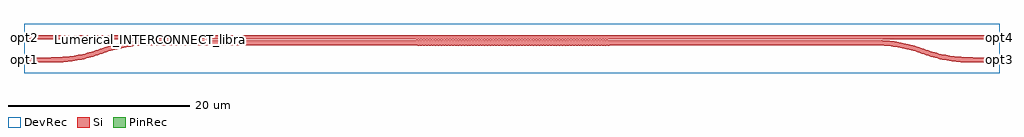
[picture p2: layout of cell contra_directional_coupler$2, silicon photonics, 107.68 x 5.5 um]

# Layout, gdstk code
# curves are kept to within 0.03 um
import gdstk
lib = gdstk.Library(unit=1e-6, precision=1e-09)
def R(c, l, rs):  # rectangles x0, y0, x1, y1
    for r in rs: c.add(gdstk.rectangle(r[:2], r[2:], *l))
def A(c, l, x, y, w, h, nx, ny, dx, dy):  # array of equal rectangles
    R(c, l, [(x+i*dx, y+j*dy, x+i*dx+w, y+j*dy+h) for i in range(nx) for j in range(ny)])
def P(c, l, *ps):  # polygons
    for p in ps: c.add(gdstk.Polygon(p, *l))
Si = (1, 0)
PinRec = (1, 10)
DevRec = (68, 0)

contra_directional_coupl = lib.new_cell('contra_directional_coupler$2')
A(contra_directional_coupl, Si, 33.867, -0.643, 0.159, 0.305, 39, 1, 0.318, 0)
A(contra_directional_coupl, Si, 29.415, -0.642, 0.159, 0.304, 14, 1, 0.318, 0)
A(contra_directional_coupl, Si, 46.269, -0.642, 0.159, 0.304, 14, 1, 0.318, 0)
A(contra_directional_coupl, Si, 25.917, -0.641, 0.159, 0.303, 11, 1, 0.318, 0)
A(contra_directional_coupl, Si, 50.721, -0.641, 0.159, 0.303, 11, 1, 0.318, 0)
A(contra_directional_coupl, Si, 23.373, -0.64, 0.159, 0.302, 8, 1, 0.318, 0)
A(contra_directional_coupl, Si, 54.219, -0.64, 0.159, 0.302, 8, 1, 0.318, 0)
A(contra_directional_coupl, Si, 20.829, -0.639, 0.159, 0.301, 8, 1, 0.318, 0)
A(contra_directional_coupl, Si, 56.763, -0.639, 0.159, 0.301, 8, 1, 0.318, 0)
A(contra_directional_coupl, Si, 18.603, -0.638, 0.159, 0.3, 7, 1, 0.318, 0)
A(contra_directional_coupl, Si, 59.307, -0.638, 0.159, 0.3, 7, 1, 0.318, 0)
A(contra_directional_coupl, Si, 16.377, -0.637, 0.159, 0.299, 7, 1, 0.318, 0)
A(contra_directional_coupl, Si, 61.533, -0.637, 0.159, 0.299, 7, 1, 0.318, 0)
A(contra_directional_coupl, Si, 14.151, -0.636, 0.159, 0.298, 7, 1, 0.318, 0)
A(contra_directional_coupl, Si, 63.759, -0.636, 0.159, 0.298, 7, 1, 0.318, 0)
A(contra_directional_coupl, Si, 12.243, -0.635, 0.159, 0.297, 6, 1, 0.318, 0)
A(contra_directional_coupl, Si, 65.985, -0.635, 0.159, 0.297, 6, 1, 0.318, 0)
A(contra_directional_coupl, Si, 10.017, -0.634, 0.159, 0.296, 7, 1, 0.318, 0)
A(contra_directional_coupl, Si, 67.893, -0.634, 0.159, 0.296, 7, 1, 0.318, 0)
A(contra_directional_coupl, Si, 8.109, -0.633, 0.159, 0.295, 6, 1, 0.318, 0)
A(contra_directional_coupl, Si, 70.119, -0.633, 0.159, 0.295, 6, 1, 0.318, 0)
A(contra_directional_coupl, Si, 6.201, -0.632, 0.159, 0.294, 6, 1, 0.318, 0)
A(contra_directional_coupl, Si, 72.027, -0.632, 0.159, 0.294, 6, 1, 0.318, 0)
A(contra_directional_coupl, Si, 3.975, -0.631, 0.159, 0.293, 7, 1, 0.318, 0)
A(contra_directional_coupl, Si, 73.935, -0.631, 0.159, 0.293, 7, 1, 0.318, 0)
A(contra_directional_coupl, Si, 2.067, -0.63, 0.159, 0.292, 6, 1, 0.318, 0)
A(contra_directional_coupl, Si, 76.161, -0.63, 0.159, 0.292, 6, 1, 0.318, 0)
A(contra_directional_coupl, Si, 0.159, -0.629, 0.159, 0.291, 6, 1, 0.318, 0)
A(contra_directional_coupl, Si, 78.069, -0.629, 0.159, 0.291, 5, 1, 0.318, 0)
A(contra_directional_coupl, Si, 0.318, -0.607, 0.159, 0.269, 6, 1, 0.318, 0)
A(contra_directional_coupl, Si, 78.228, -0.607, 0.159, 0.269, 5, 1, 0.318, 0)
A(contra_directional_coupl, Si, 2.226, -0.606, 0.159, 0.268, 6, 1, 0.318, 0)
A(contra_directional_coupl, Si, 76.32, -0.606, 0.159, 0.268, 6, 1, 0.318, 0)
A(contra_directional_coupl, Si, 4.134, -0.605, 0.159, 0.267, 7, 1, 0.318, 0)
A(contra_directional_coupl, Si, 74.094, -0.605, 0.159, 0.267, 7, 1, 0.318, 0)
A(contra_directional_coupl, Si, 6.36, -0.604, 0.159, 0.266, 6, 1, 0.318, 0)
A(contra_directional_coupl, Si, 72.186, -0.604, 0.159, 0.266, 6, 1, 0.318, 0)
A(contra_directional_coupl, Si, 8.268, -0.603, 0.159, 0.265, 6, 1, 0.318, 0)
A(contra_directional_coupl, Si, 70.278, -0.603, 0.159, 0.265, 6, 1, 0.318, 0)
A(contra_directional_coupl, Si, 10.176, -0.602, 0.159, 0.264, 7, 1, 0.318, 0)
A(contra_directional_coupl, Si, 68.052, -0.602, 0.159, 0.264, 7, 1, 0.318, 0)
A(contra_directional_coupl, Si, 12.402, -0.601, 0.159, 0.263, 6, 1, 0.318, 0)
A(contra_directional_coupl, Si, 66.144, -0.601, 0.159, 0.263, 6, 1, 0.318, 0)
A(contra_directional_coupl, Si, 14.31, -0.6, 0.159, 0.262, 7, 1, 0.318, 0)
A(contra_directional_coupl, Si, 63.918, -0.6, 0.159, 0.262, 7, 1, 0.318, 0)
A(contra_directional_coupl, Si, 16.536, -0.599, 0.159, 0.261, 7, 1, 0.318, 0)
A(contra_directional_coupl, Si, 61.692, -0.599, 0.159, 0.261, 7, 1, 0.318, 0)
A(contra_directional_coupl, Si, 18.762, -0.598, 0.159, 0.26, 7, 1, 0.318, 0)
A(contra_directional_coupl, Si, 59.466, -0.598, 0.159, 0.26, 7, 1, 0.318, 0)
A(contra_directional_coupl, Si, 20.988, -0.597, 0.159, 0.259, 8, 1, 0.318, 0)
A(contra_directional_coupl, Si, 56.922, -0.597, 0.159, 0.259, 8, 1, 0.318, 0)
A(contra_directional_coupl, Si, 23.532, -0.596, 0.159, 0.258, 8, 1, 0.318, 0)
A(contra_directional_coupl, Si, 54.378, -0.596, 0.159, 0.258, 8, 1, 0.318, 0)
A(contra_directional_coupl, Si, 26.076, -0.595, 0.159, 0.257, 11, 1, 0.318, 0)
A(contra_directional_coupl, Si, 50.88, -0.595, 0.159, 0.257, 11, 1, 0.318, 0)
A(contra_directional_coupl, Si, 29.574, -0.594, 0.159, 0.256, 14, 1, 0.318, 0)
A(contra_directional_coupl, Si, 46.428, -0.594, 0.159, 0.256, 14, 1, 0.318, 0)
A(contra_directional_coupl, Si, 34.026, -0.593, 0.159, 0.255, 39, 1, 0.318, 0)
A(contra_directional_coupl, Si, 0, -0.338, 0.159, 0.291, 6, 1, 0.318, 0)
A(contra_directional_coupl, Si, 0.159, -0.338, 0.159, 0.269, 6, 1, 0.318, 0)
A(contra_directional_coupl, Si, 1.908, -0.338, 0.159, 0.292, 6, 1, 0.318, 0)
A(contra_directional_coupl, Si, 2.067, -0.338, 0.159, 0.268, 6, 1, 0.318, 0)
A(contra_directional_coupl, Si, 3.816, -0.338, 0.159, 0.293, 7, 1, 0.318, 0)
A(contra_directional_coupl, Si, 3.975, -0.338, 0.159, 0.267, 7, 1, 0.318, 0)
A(contra_directional_coupl, Si, 6.042, -0.338, 0.159, 0.294, 6, 1, 0.318, 0)
A(contra_directional_coupl, Si, 6.201, -0.338, 0.159, 0.266, 6, 1, 0.318, 0)
A(contra_directional_coupl, Si, 7.95, -0.338, 0.159, 0.295, 6, 1, 0.318, 0)
A(contra_directional_coupl, Si, 8.109, -0.338, 0.159, 0.265, 6, 1, 0.318, 0)
A(contra_directional_coupl, Si, 9.858, -0.338, 0.159, 0.296, 7, 1, 0.318, 0)
A(contra_directional_coupl, Si, 10.017, -0.338, 0.159, 0.264, 7, 1, 0.318, 0)
A(contra_directional_coupl, Si, 12.084, -0.338, 0.159, 0.297, 6, 1, 0.318, 0)
A(contra_directional_coupl, Si, 12.243, -0.338, 0.159, 0.263, 6, 1, 0.318, 0)
A(contra_directional_coupl, Si, 13.992, -0.338, 0.159, 0.298, 7, 1, 0.318, 0)
A(contra_directional_coupl, Si, 14.151, -0.338, 0.159, 0.262, 7, 1, 0.318, 0)
A(contra_directional_coupl, Si, 16.218, -0.338, 0.159, 0.299, 7, 1, 0.318, 0)
A(contra_directional_coupl, Si, 16.377, -0.338, 0.159, 0.261, 7, 1, 0.318, 0)
A(contra_directional_coupl, Si, 18.444, -0.338, 0.159, 0.3, 7, 1, 0.318, 0)
A(contra_directional_coupl, Si, 18.603, -0.338, 0.159, 0.26, 7, 1, 0.318, 0)
A(contra_directional_coupl, Si, 20.67, -0.338, 0.159, 0.301, 8, 1, 0.318, 0)
A(contra_directional_coupl, Si, 20.829, -0.338, 0.159, 0.259, 8, 1, 0.318, 0)
A(contra_directional_coupl, Si, 23.214, -0.338, 0.159, 0.302, 8, 1, 0.318, 0)
A(contra_directional_coupl, Si, 23.373, -0.338, 0.159, 0.258, 8, 1, 0.318, 0)
A(contra_directional_coupl, Si, 25.758, -0.338, 0.159, 0.303, 11, 1, 0.318, 0)
A(contra_directional_coupl, Si, 25.917, -0.338, 0.159, 0.257, 11, 1, 0.318, 0)
A(contra_directional_coupl, Si, 29.256, -0.338, 0.159, 0.304, 14, 1, 0.318, 0)
A(contra_directional_coupl, Si, 29.415, -0.338, 0.159, 0.256, 14, 1, 0.318, 0)
A(contra_directional_coupl, Si, 33.708, -0.338, 0.159, 0.305, 39, 1, 0.318, 0)
A(contra_directional_coupl, Si, 33.867, -0.338, 0.159, 0.255, 39, 1, 0.318, 0)
A(contra_directional_coupl, Si, 46.11, -0.338, 0.159, 0.304, 14, 1, 0.318, 0)
A(contra_directional_coupl, Si, 46.269, -0.338, 0.159, 0.256, 14, 1, 0.318, 0)
A(contra_directional_coupl, Si, 50.562, -0.338, 0.159, 0.303, 11, 1, 0.318, 0)
A(contra_directional_coupl, Si, 50.721, -0.338, 0.159, 0.257, 11, 1, 0.318, 0)
A(contra_directional_coupl, Si, 54.06, -0.338, 0.159, 0.302, 8, 1, 0.318, 0)
A(contra_directional_coupl, Si, 54.219, -0.338, 0.159, 0.258, 8, 1, 0.318, 0)
A(contra_directional_coupl, Si, 56.604, -0.338, 0.159, 0.301, 8, 1, 0.318, 0)
A(contra_directional_coupl, Si, 56.763, -0.338, 0.159, 0.259, 8, 1, 0.318, 0)
A(contra_directional_coupl, Si, 59.148, -0.338, 0.159, 0.3, 7, 1, 0.318, 0)
A(contra_directional_coupl, Si, 59.307, -0.338, 0.159, 0.26, 7, 1, 0.318, 0)
A(contra_directional_coupl, Si, 61.374, -0.338, 0.159, 0.299, 7, 1, 0.318, 0)
A(contra_directional_coupl, Si, 61.533, -0.338, 0.159, 0.261, 7, 1, 0.318, 0)
A(contra_directional_coupl, Si, 63.6, -0.338, 0.159, 0.298, 7, 1, 0.318, 0)
A(contra_directional_coupl, Si, 63.759, -0.338, 0.159, 0.262, 7, 1, 0.318, 0)
A(contra_directional_coupl, Si, 65.826, -0.338, 0.159, 0.297, 6, 1, 0.318, 0)
A(contra_directional_coupl, Si, 65.985, -0.338, 0.159, 0.263, 6, 1, 0.318, 0)
A(contra_directional_coupl, Si, 67.734, -0.338, 0.159, 0.296, 7, 1, 0.318, 0)
A(contra_directional_coupl, Si, 67.893, -0.338, 0.159, 0.264, 7, 1, 0.318, 0)
A(contra_directional_coupl, Si, 69.96, -0.338, 0.159, 0.295, 6, 1, 0.318, 0)
A(contra_directional_coupl, Si, 70.119, -0.338, 0.159, 0.265, 6, 1, 0.318, 0)
A(contra_directional_coupl, Si, 71.868, -0.338, 0.159, 0.294, 6, 1, 0.318, 0)
A(contra_directional_coupl, Si, 72.027, -0.338, 0.159, 0.266, 6, 1, 0.318, 0)
A(contra_directional_coupl, Si, 73.776, -0.338, 0.159, 0.293, 7, 1, 0.318, 0)
A(contra_directional_coupl, Si, 73.935, -0.338, 0.159, 0.267, 7, 1, 0.318, 0)
A(contra_directional_coupl, Si, 76.002, -0.338, 0.159, 0.292, 6, 1, 0.318, 0)
A(contra_directional_coupl, Si, 76.161, -0.338, 0.159, 0.268, 6, 1, 0.318, 0)
A(contra_directional_coupl, Si, 77.91, -0.338, 0.159, 0.291, 5, 1, 0.318, 0)
A(contra_directional_coupl, Si, 78.069, -0.338, 0.159, 0.269, 5, 1, 0.318, 0)
A(contra_directional_coupl, Si, 27.03, 0.047, 0.159, 0.231, 40, 1, 0.318, 0)
A(contra_directional_coupl, Si, 40.068, 0.047, 0.159, 0.231, 40, 1, 0.318, 0)
A(contra_directional_coupl, Si, 21.306, 0.048, 0.159, 0.23, 18, 1, 0.318, 0)
A(contra_directional_coupl, Si, 52.788, 0.048, 0.159, 0.23, 18, 1, 0.318, 0)
A(contra_directional_coupl, Si, 16.854, 0.049, 0.159, 0.229, 14, 1, 0.318, 0)
A(contra_directional_coupl, Si, 58.512, 0.049, 0.159, 0.229, 14, 1, 0.318, 0)
A(contra_directional_coupl, Si, 12.402, 0.05, 0.159, 0.228, 14, 1, 0.318, 0)
A(contra_directional_coupl, Si, 62.964, 0.05, 0.159, 0.228, 14, 1, 0.318, 0)
A(contra_directional_coupl, Si, 8.268, 0.051, 0.159, 0.227, 13, 1, 0.318, 0)
A(contra_directional_coupl, Si, 67.416, 0.051, 0.159, 0.227, 13, 1, 0.318, 0)
A(contra_directional_coupl, Si, 3.816, 0.052, 0.159, 0.226, 14, 1, 0.318, 0)
A(contra_directional_coupl, Si, 71.55, 0.052, 0.159, 0.226, 14, 1, 0.318, 0)
A(contra_directional_coupl, Si, 0, 0.053, 0.159, 0.225, 12, 1, 0.318, 0)
A(contra_directional_coupl, Si, 76.002, 0.053, 0.159, 0.225, 11, 1, 0.318, 0)
A(contra_directional_coupl, Si, 0.159, 0.064, 0.159, 0.214, 12, 1, 0.318, 0)
A(contra_directional_coupl, Si, 76.161, 0.064, 0.159, 0.214, 11, 1, 0.318, 0)
A(contra_directional_coupl, Si, 3.975, 0.065, 0.159, 0.213, 14, 1, 0.318, 0)
A(contra_directional_coupl, Si, 71.709, 0.065, 0.159, 0.213, 14, 1, 0.318, 0)
A(contra_directional_coupl, Si, 8.427, 0.066, 0.159, 0.212, 13, 1, 0.318, 0)
A(contra_directional_coupl, Si, 67.575, 0.066, 0.159, 0.212, 13, 1, 0.318, 0)
A(contra_directional_coupl, Si, 12.561, 0.067, 0.159, 0.211, 14, 1, 0.318, 0)
A(contra_directional_coupl, Si, 63.123, 0.067, 0.159, 0.211, 14, 1, 0.318, 0)
A(contra_directional_coupl, Si, 17.013, 0.068, 0.159, 0.21, 14, 1, 0.318, 0)
A(contra_directional_coupl, Si, 58.671, 0.068, 0.159, 0.21, 14, 1, 0.318, 0)
A(contra_directional_coupl, Si, 21.465, 0.069, 0.159, 0.209, 18, 1, 0.318, 0)
A(contra_directional_coupl, Si, 52.947, 0.069, 0.159, 0.209, 18, 1, 0.318, 0)
A(contra_directional_coupl, Si, 27.189, 0.07, 0.159, 0.208, 81, 1, 0.318, 0)
A(contra_directional_coupl, Si, 0.159, 0.278, 0.159, 0.225, 12, 1, 0.318, 0)
A(contra_directional_coupl, Si, 0.318, 0.278, 0.159, 0.214, 12, 1, 0.318, 0)
A(contra_directional_coupl, Si, 3.975, 0.278, 0.159, 0.226, 14, 1, 0.318, 0)
A(contra_directional_coupl, Si, 4.134, 0.278, 0.159, 0.213, 14, 1, 0.318, 0)
A(contra_directional_coupl, Si, 8.427, 0.278, 0.159, 0.227, 13, 1, 0.318, 0)
A(contra_directional_coupl, Si, 8.586, 0.278, 0.159, 0.212, 13, 1, 0.318, 0)
A(contra_directional_coupl, Si, 12.561, 0.278, 0.159, 0.228, 14, 1, 0.318, 0)
A(contra_directional_coupl, Si, 12.72, 0.278, 0.159, 0.211, 14, 1, 0.318, 0)
A(contra_directional_coupl, Si, 17.013, 0.278, 0.159, 0.229, 14, 1, 0.318, 0)
A(contra_directional_coupl, Si, 17.172, 0.278, 0.159, 0.21, 14, 1, 0.318, 0)
A(contra_directional_coupl, Si, 21.465, 0.278, 0.159, 0.23, 18, 1, 0.318, 0)
A(contra_directional_coupl, Si, 21.624, 0.278, 0.159, 0.209, 18, 1, 0.318, 0)
A(contra_directional_coupl, Si, 27.189, 0.278, 0.159, 0.231, 40, 1, 0.318, 0)
A(contra_directional_coupl, Si, 27.348, 0.278, 0.159, 0.208, 81, 1, 0.318, 0)
A(contra_directional_coupl, Si, 40.227, 0.278, 0.159, 0.231, 40, 1, 0.318, 0)
A(contra_directional_coupl, Si, 52.947, 0.278, 0.159, 0.23, 18, 1, 0.318, 0)
A(contra_directional_coupl, Si, 53.106, 0.278, 0.159, 0.209, 18, 1, 0.318, 0)
A(contra_directional_coupl, Si, 58.671, 0.278, 0.159, 0.229, 14, 1, 0.318, 0)
A(contra_directional_coupl, Si, 58.83, 0.278, 0.159, 0.21, 14, 1, 0.318, 0)
A(contra_directional_coupl, Si, 63.123, 0.278, 0.159, 0.228, 14, 1, 0.318, 0)
A(contra_directional_coupl, Si, 63.282, 0.278, 0.159, 0.211, 14, 1, 0.318, 0)
A(contra_directional_coupl, Si, 67.575, 0.278, 0.159, 0.227, 13, 1, 0.318, 0)
A(contra_directional_coupl, Si, 67.734, 0.278, 0.159, 0.212, 13, 1, 0.318, 0)
A(contra_directional_coupl, Si, 71.709, 0.278, 0.159, 0.226, 14, 1, 0.318, 0)
A(contra_directional_coupl, Si, 71.868, 0.278, 0.159, 0.213, 14, 1, 0.318, 0)
A(contra_directional_coupl, Si, 76.161, 0.278, 0.159, 0.225, 11, 1, 0.318, 0)
A(contra_directional_coupl, Si, 76.32, 0.278, 0.159, 0.214, 11, 1, 0.318, 0)
R(contra_directional_coupl, Si, [(0,-0.618,0.159,-0.338), (79.5,-0.338,79.659,-0.058), (39.75,0.046,39.909,0.278), (-5.5,0.058,0,0.498), (79.5,0.058,79.659,0.278), (79.659,0.058,85.159,0.498), (0,0.278,0.159,0.498), (39.909,0.278,40.068,0.51)])
P(contra_directional_coupl, Si, [(90.391,-2.502),(88.838,-2.423),(87.302,-2.186),(86.045,-1.871),(83.874,-1.157),(82.412,-0.829),(81.174,-0.671),(79.659,-0.618),(79.659,-0.058),(80.963,-0.093),(82.507,-0.277),(84.024,-0.618),(86.204,-1.334),(87.415,-1.638),(88.895,-1.866),(90.659,-1.942),(90.659,-2.502)],
  [(90.659,-2.502),(90.659,-1.942),(93.659,-1.972),(93.659,-2.472)],
  [(93.659,0.028),(85.159,0.058),(85.159,0.498),(93.659,0.528)],
  [(-11,-2.502),(-11,-1.942),(-9.236,-1.866),(-7.756,-1.638),(-6.545,-1.334),(-4.365,-0.618),(-2.848,-0.277),(-1.304,-0.093),(0,-0.058),(0,-0.618),(-1.764,-0.694),(-3.244,-0.922),(-4.455,-1.226),(-6.635,-1.942),(-8.152,-2.283),(-9.696,-2.467)],
  [(-11,-2.502),(-14,-2.472),(-14,-1.972),(-11,-1.942)],
  [(-14,0.028),(-14,0.528),(-5.5,0.498),(-5.5,0.058)])
R(contra_directional_coupl, DevRec, [(-14,-3.722,93.659,1.778)])
contra_directional_coupl.add(gdstk.FlexPath([(-13.99,-2.222),(-14.01,-2.222)], 0.5, ends="flush", simple_path=True, layer=1, datatype=10))  # PinRec
contra_directional_coupl.add(gdstk.FlexPath([(-13.99,0.278),(-14.01,0.278)], 0.5, ends="flush", simple_path=True, layer=1, datatype=10))  # PinRec
contra_directional_coupl.add(gdstk.FlexPath([(93.649,-2.222),(93.669,-2.222)], 0.5, ends="flush", simple_path=True, layer=1, datatype=10))  # PinRec
contra_directional_coupl.add(gdstk.FlexPath([(93.649,0.278),(93.669,0.278)], 0.5, ends="flush", simple_path=True, layer=1, datatype=10))  # PinRec
contra_directional_coupl.add(gdstk.Label('opt1', (-14,-2.222), layer=1, texttype=10))
contra_directional_coupl.add(gdstk.Label('opt2', (-14,0.278), layer=1, texttype=10))
contra_directional_coupl.add(gdstk.Label('opt3', (93.659,-2.222), layer=1, texttype=10))
contra_directional_coupl.add(gdstk.Label('opt4', (93.659,0.278), layer=1, texttype=10))
contra_directional_coupl.add(gdstk.Label('Lumerical_INTERCONNECT_library=Design kits/EBeam', (0,0), layer=68, texttype=0))
contra_directional_coupl.add(gdstk.Label('Component=contra_directional_coupler', (0,0.1), layer=68, texttype=0))

lib.write_gds('contra_directional_coupler_2.gds')
